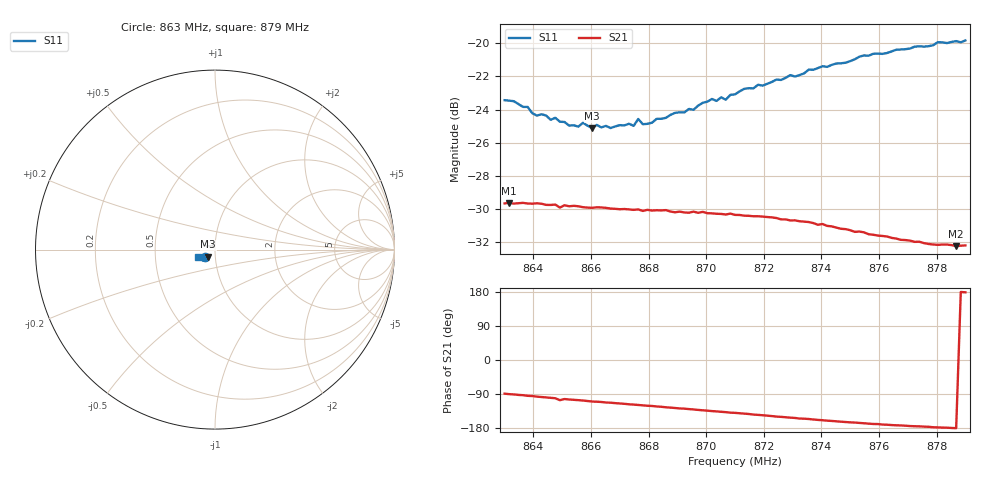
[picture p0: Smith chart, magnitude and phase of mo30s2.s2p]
# HZ S RI R 50
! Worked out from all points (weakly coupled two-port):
!   101 points, 863 MHz to 879 MHz, reference 50 ohm
!   highest |S21| = -29.62 dB at 863.16 MHz (marker M1); lowest = -32.2 dB at 878.68 MHz (marker M2)
!   lowest |S11| = -25.1 dB at 866.04 MHz (marker M3), VSWR 1.12, Z = 46.1 - j3.69 ohm
!   |S11| at or under -10 dB: start of sweep to end of sweep
!   S12 and S22 are empty: the file has one direction only
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8.63e8  -0.0539 -0.0404  0.00071 -0.0329  0 0  0 0
8.6316e8  -0.0539 -0.04  -5.7e-05 -0.033  0 0  0 0
8.638e8  -0.0514 -0.0387  -0.00259 -0.0328  0 0  0 0
8.6412e8  -0.0471 -0.038  -0.00376 -0.0327  0 0  0 0
8.6476e8  -0.0452 -0.0389  -0.00619 -0.032  0 0  0 0
8.6524e8  -0.042 -0.0377  -0.00794 -0.0313  0 0  0 0
8.6556e8  -0.0408 -0.0385  -0.00889 -0.031  0 0  0 0
8.6572e8  -0.0405 -0.0409  -0.00938 -0.0307  0 0  0 0
8.6604e8  -0.0386 -0.0399  -0.0107 -0.0301  0 0  0 0
8.662e8  -0.0392 -0.041  -0.011 -0.0301  0 0  0 0
8.6748e8  -0.0339 -0.0451  -0.0146 -0.0279  0 0  0 0
8.6764e8  -0.036 -0.0469  -0.0151 -0.0277  0 0  0 0
8.678e8  -0.0355 -0.0446  -0.0155 -0.0271  0 0  0 0
8.6844e8  -0.0346 -0.048  -0.0173 -0.0261  0 0  0 0
8.6956e8  -0.0361 -0.0517  -0.0202 -0.0237  0 0  0 0
8.702e8  -0.0388 -0.0558  -0.0217 -0.0218  0 0  0 0
8.7068e8  -0.0383 -0.0557  -0.0225 -0.0205  0 0  0 0
8.71e8  -0.0401 -0.0575  -0.0231 -0.0197  0 0  0 0
8.7372e8  -0.0556 -0.0619  -0.0264 -0.0112  0 0  0 0
8.7644e8  -0.0768 -0.0551  -0.0256 -0.00373  0 0  0 0
8.7868e8  -0.0926 -0.0417  -0.0245 -3.8e-05  0 0  0 0
8.79e8  -0.0942 -0.0392  -0.0246 0.000618  0 0  0 0
